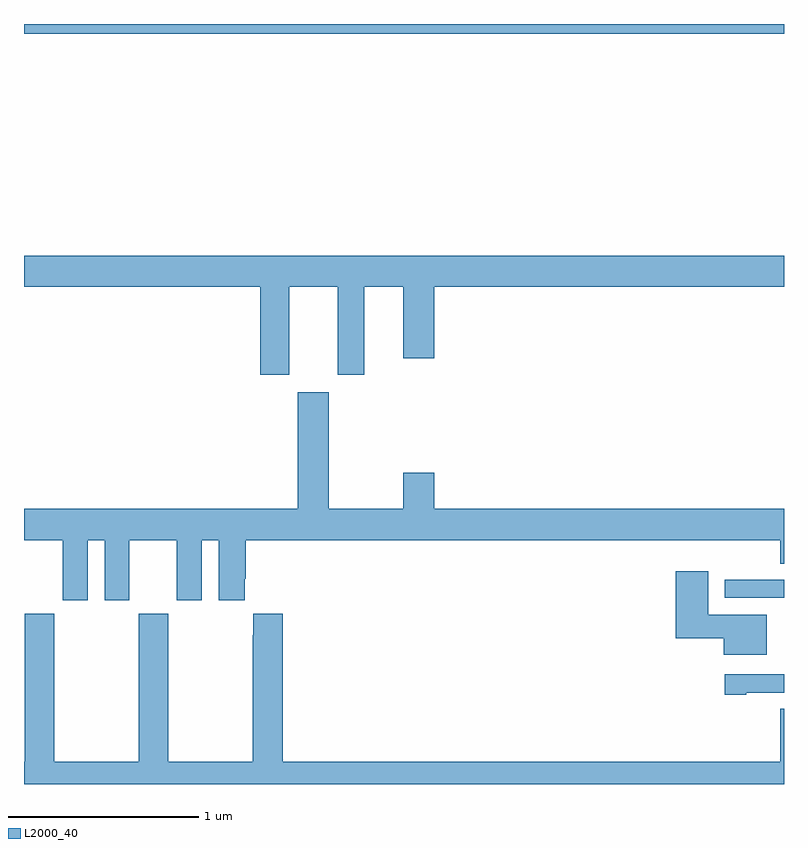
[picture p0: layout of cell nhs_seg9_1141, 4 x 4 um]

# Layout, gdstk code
import gdstk
lib = gdstk.Library(unit=1e-6, precision=1e-09)
def R(c, l, rs):  # rectangles x0, y0, x1, y1
    for r in rs: c.add(gdstk.rectangle(r[:2], r[2:], *l))
def P(c, l, *ps):  # polygons
    for p in ps: c.add(gdstk.Polygon(p, *l))
L2000_40 = (2000, 40)

nhs_seg9_1141 = lib.new_cell('nhs_seg9_1141')
R(nhs_seg9_1141, L2000_40, [(178.689,1165.479,179,1165.575), (175,1168.448,179,1168.5)])
P(nhs_seg9_1141, L2000_40, [(176.395,1167.116),(176.651,1167.116),(176.651,1166.655),(176.791,1166.655),(176.791,1167.116),(176.996,1167.116),(176.996,1166.742),(177.16,1166.742),(177.16,1167.116),(179,1167.116),(179,1167.28),(175,1167.28),(175,1167.116),(176.243,1167.116),(176.243,1166.655),(176.395,1166.655)],
  [(175.336,1165.784),(175.424,1165.784),(175.424,1165.467),(175.555,1165.467),(175.555,1165.784),(175.805,1165.784),(175.805,1165.467),(175.936,1165.467),(175.936,1165.784),(176.024,1165.784),(176.024,1165.467),(176.161,1165.467),(176.161,1165.579),(176.168,1165.579),(176.168,1165.784),(178.979,1165.784),(178.979,1165.66),(179,1165.66),(179,1165.948),(177.16,1165.948),(177.16,1166.137),(176.996,1166.137),(176.996,1165.948),(176.605,1165.948),(176.605,1166.563),(176.441,1166.563),(176.441,1165.948),(175,1165.948),(175,1165.784),(175.205,1165.784),(175.205,1165.467),(175.336,1165.467)],
  [(178.909,1165.39),(178.6,1165.39),(178.6,1165.621),(178.43,1165.621),(178.43,1165.268),(178.682,1165.268),(178.682,1165.181),(178.909,1165.181)],
  [(175.758,1165.396),(175.603,1165.396),(175.603,1164.616),(175.158,1164.616),(175.158,1165.396),(175.003,1165.396),(175.003,1164.616),(175,1164.616),(175,1164.5),(179,1164.5),(179,1164.896),(178.979,1164.896),(178.979,1164.616),(176.363,1164.616),(176.363,1165.396),(176.207,1165.396),(176.207,1165.283),(176.203,1165.283),(176.203,1164.616),(175.758,1164.616)],
  [(178.801,1164.981),(179,1164.981),(179,1165.077),(178.689,1165.077),(178.689,1164.969),(178.801,1164.969)])

lib.write_gds('nhs_seg9_1141.gds')
